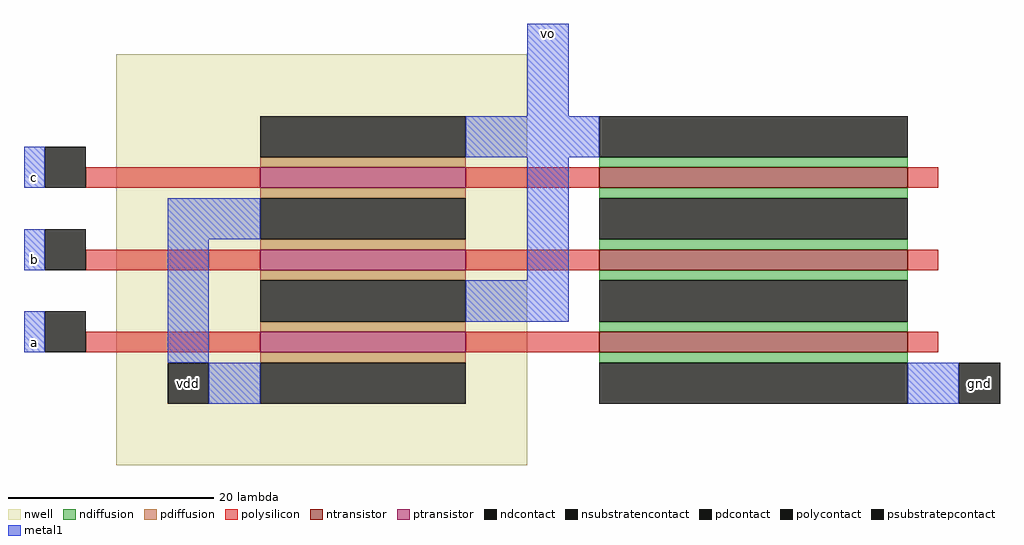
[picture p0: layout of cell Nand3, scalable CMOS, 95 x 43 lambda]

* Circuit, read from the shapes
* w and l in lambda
.subckt Nand3 a b c gnd vdd vo
M1 n1 a gnd gnd nfet w=30 l=2
M2 n2 b n1 gnd nfet w=30 l=2
M3 vo c n2 gnd nfet w=30 l=2
M4 vo a vdd vdd pfet w=20 l=2
M5 vdd b vo vdd pfet w=20 l=2
M6 vo c vdd vdd pfet w=20 l=2
.ends

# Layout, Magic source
magic
tech scmos
<< nwell >>
rect 9 -46 49 -6
<< ntransistor >>
rect 56 -19 86 -17
rect 56 -27 86 -25
rect 56 -35 86 -33
<< ptransistor >>
rect 23 -19 43 -17
rect 23 -27 43 -25
rect 23 -35 43 -33
<< ndiffusion >>
rect 56 -17 86 -16
rect 56 -20 86 -19
rect 56 -25 86 -24
rect 56 -28 86 -27
rect 56 -33 86 -32
rect 56 -36 86 -35
<< pdiffusion >>
rect 23 -17 43 -16
rect 23 -20 43 -19
rect 23 -25 43 -24
rect 23 -28 43 -27
rect 23 -33 43 -32
rect 23 -36 43 -35
<< ndcontact >>
rect 56 -16 86 -12
rect 56 -24 86 -20
rect 56 -32 86 -28
rect 56 -40 86 -36
<< pdcontact >>
rect 23 -16 43 -12
rect 23 -24 43 -20
rect 23 -32 43 -28
rect 23 -40 43 -36
<< psubstratepcontact >>
rect 91 -40 95 -36
<< nsubstratencontact >>
rect 14 -40 18 -36
<< polysilicon >>
rect 6 -19 23 -17
rect 43 -19 56 -17
rect 86 -19 89 -17
rect 6 -27 23 -25
rect 43 -27 56 -25
rect 86 -27 89 -25
rect 6 -35 23 -33
rect 43 -35 56 -33
rect 86 -35 89 -33
<< polycontact >>
rect 2 -19 6 -15
rect 2 -27 6 -23
rect 2 -35 6 -31
<< metal1 >>
rect 49 -12 53 -3
rect 0 -19 2 -15
rect 43 -16 56 -12
rect 0 -27 2 -23
rect 14 -24 23 -20
rect 0 -35 2 -31
rect 14 -36 18 -24
rect 49 -28 53 -16
rect 43 -32 53 -28
rect 18 -40 23 -36
rect 86 -40 91 -36
<< labels >>
rlabel nsubstratencontact 14 -40 18 -36 7 vdd
rlabel metal1 0 -35 2 -33 3 a
rlabel metal1 0 -27 2 -25 3 b
rlabel metal1 0 -19 2 -17 3 c
rlabel metal1 49 -5 53 -3 5 vo
rlabel psubstratepcontact 91 -40 95 -36 7 gnd
<< end >>
